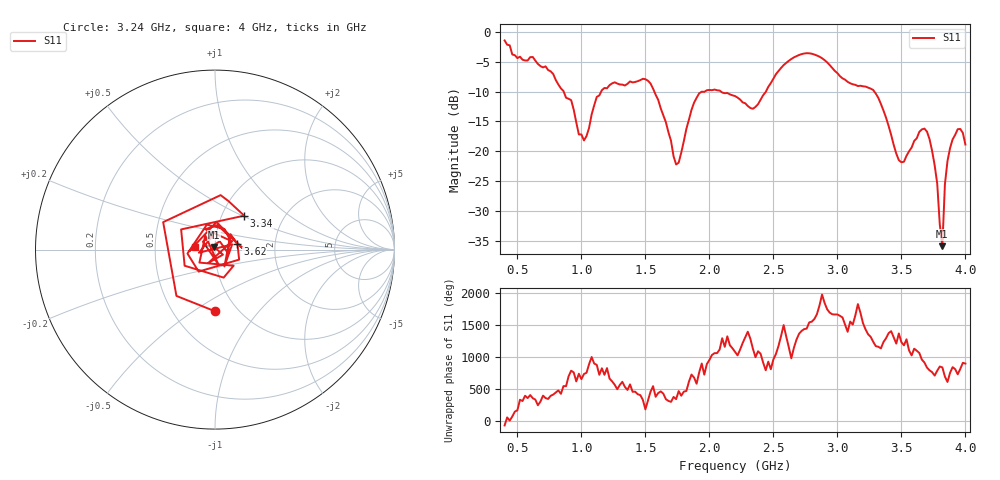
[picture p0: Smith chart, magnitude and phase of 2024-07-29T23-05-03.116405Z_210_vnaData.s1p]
!Created with skrf (http://scikit-rf.org).
# Hz S RI R 50.0
!freq ReS11 ImS11
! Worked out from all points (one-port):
!   181 points, 400 MHz to 4 GHz, reference 50 ohm
!   lowest |S11| = -36.0 dB at 3.82 GHz (marker M1), VSWR 1.03, Z = 49.4 + j1.46 ohm
!   |S11| at or under -10 dB: 1.57 GHz to 1.939 GHz (369.3 MHz wide, 21 % of centre); 2.092 GHz to 2.441 GHz (348.8 MHz wide, 15.4 % of centre); 3.29 GHz to end of sweep (the widest 3 of 5)
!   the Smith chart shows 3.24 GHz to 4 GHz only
!   S11 on the Smith chart (normalised r, x): 3.24 GHz: 0.79, -0.61; 3.34 GHz: 1.27, +0.51; 3.62 GHz: 1.28, +0.08; 4 GHz: 0.80, +0.03
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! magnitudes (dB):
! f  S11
! 400 MHz  -1.4
! 860 MHz  -9.9
! 920 MHz  -11.4
! 1.02 GHz  -18.2
! 1.12 GHz  -10.9
! 1.3 GHz  -8.8
! 1.54 GHz  -8.6
! 1.76 GHz  -21.9
! 1.92 GHz  -10.3
! 2.2 GHz  -10.7
! 2.34 GHz  -12.9
! 2.66 GHz  -4.2
! 2.86 GHz  -4.1
! 3.1 GHz  -8.6
! 3.24 GHz  -9.3
! 3.34 GHz  -12.1
! 3.48 GHz  -21.5
! 3.56 GHz  -20.0
! 3.62 GHz  -17.8
! 3.68 GHz  -16.2
! 3.72 GHz  -18.0
! 3.78 GHz  -25.5
! 3.8 GHz  -32.3
! 3.82 GHz  -36.0
! 3.84 GHz  -25.6
! 3.88 GHz  -19.5
! 3.94 GHz  -16.3
! 4 GHz  -18.9
